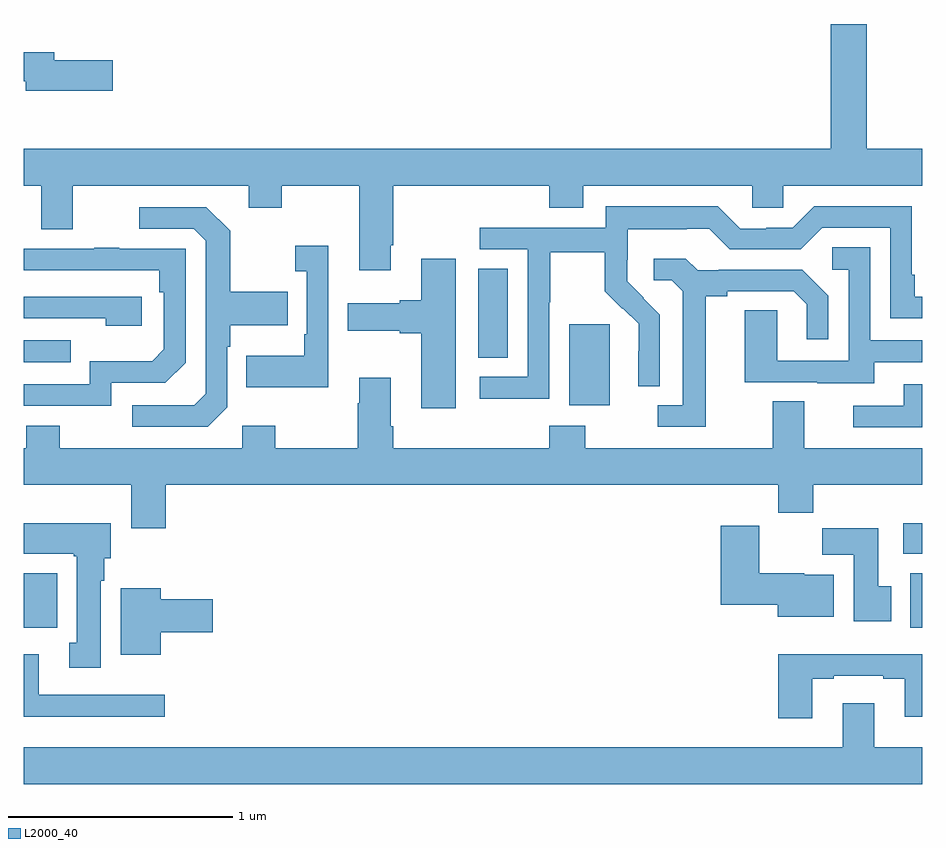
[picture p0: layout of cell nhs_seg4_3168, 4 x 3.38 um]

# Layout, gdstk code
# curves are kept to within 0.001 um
import gdstk
lib = gdstk.Library(unit=1e-6, precision=1e-09)
def R(c, l, rs):  # rectangles x0, y0, x1, y1
    for r in rs: c.add(gdstk.rectangle(r[:2], r[2:], *l))
def P(c, l, *ps):  # polygons
    for p in ps: c.add(gdstk.Polygon(p, *l))
L2000_40 = (2000, 40)

nhs_seg4_3168 = lib.new_cell('nhs_seg4_3168')
R(nhs_seg4_3168, L2000_40, [(279,768.212,279.148,768.454), (282.947,768.212,283,768.454), (282.915,768.542,283,768.676), (281.429,769.202,281.608,769.563), (279,769.395,279.209,769.491), (281.024,769.414,281.155,769.811)])
P(nhs_seg4_3168, L2000_40, [(279.397,770.738),(279.136,770.738),(279.136,770.774),(279,770.774),(279,770.646),(279.008,770.646),(279.008,770.603),(279.397,770.603)],
  [(282.593,770.9),(282.593,770.344),(279,770.344),(279,770.18),(279.077,770.18),(279.077,769.986),(279.217,769.986),(279.217,770.18),(280.001,770.18),(280.001,770.081),(280.149,770.081),(280.149,770.18),(280.493,770.18),(280.493,769.803),(280.633,769.803),(280.633,769.915),(280.646,769.915),(280.646,770.18),(281.339,770.18),(281.339,770.081),(281.491,770.081),(281.491,770.18),(282.243,770.18),(282.243,770.082),(282.381,770.082),(282.381,770.18),(283,770.18),(283,770.344),(282.753,770.344),(282.753,770.9)],
  [(281.34,769.66),(281.343,769.66),(281.343,769.884),(281.587,769.884),(281.587,769.709),(281.664,769.632),(281.667,769.635),(281.738,769.565),(281.738,769.442),(281.736,769.442),(281.736,769.288),(281.832,769.288),(281.832,769.606),(281.686,769.754),(281.686,769.851),(281.688,769.851),(281.688,769.985),(281.951,769.985),(281.951,769.989),(282.051,769.989),(282.144,769.896),(282.459,769.896),(282.555,769.992),(282.858,769.992),(282.858,769.59),(283,769.59),(283,769.686),(282.967,769.686),(282.967,769.783),(282.954,769.783),(282.954,770.088),(282.519,770.088),(282.423,769.992),(282.305,769.992),(282.305,769.989),(282.189,769.989),(282.089,770.089),(281.592,770.089),(281.592,769.992),(281.031,769.992),(281.031,769.896),(281.244,769.896),(281.244,769.329),(281.031,769.329),(281.031,769.231),(281.34,769.231)],
  [(279.906,769.194),(279.906,769.463),(279.919,769.463),(279.919,769.559),(280.175,769.559),(280.175,769.707),(279.919,769.707),(279.919,769.979),(279.813,770.085),(279.513,770.085),(279.513,769.989),(279.756,769.989),(279.81,769.935),(279.81,769.254),(279.759,769.203),(279.483,769.203),(279.483,769.107),(279.819,769.107)],
  [(280.356,769.912),(280.209,769.912),(280.209,769.799),(280.26,769.799),(280.26,769.519),(280.248,769.519),(280.248,769.423),(279.991,769.423),(279.991,769.283),(280.356,769.283)],
  [(282.787,769.395),(283,769.395),(283,769.491),(282.768,769.491),(282.768,769.907),(282.6,769.907),(282.6,769.806),(282.672,769.806),(282.672,769.401),(282.354,769.401),(282.354,769.625),(282.209,769.625),(282.209,769.305),(282.533,769.305),(282.533,769.301),(282.787,769.301)],
  [(279.39,769.302),(279.63,769.302),(279.72,769.392),(279.72,769.899),(279.425,769.899),(279.425,769.904),(279.313,769.904),(279.313,769.899),(279,769.899),(279,769.803),(279.604,769.803),(279.604,769.706),(279.624,769.706),(279.624,769.452),(279.571,769.399),(279.294,769.399),(279.294,769.296),(279,769.296),(279,769.2),(279.39,769.2)],
  [(282.037,769.688),(282.133,769.688),(282.133,769.71),(282.428,769.71),(282.485,769.653),(282.485,769.497),(282.582,769.497),(282.582,769.69),(282.466,769.806),(282.094,769.806),(282.094,769.803),(282,769.803),(281.948,769.855),(281.805,769.855),(281.805,769.758),(281.886,769.758),(281.933,769.711),(281.933,769.203),(281.823,769.203),(281.823,769.107),(282.037,769.107)],
  [(280.924,769.855),(280.769,769.855),(280.769,769.67),(280.673,769.67),(280.673,769.657),(280.443,769.657),(280.443,769.535),(280.673,769.535),(280.673,769.523),(280.769,769.523),(280.769,769.188),(280.924,769.188)],
  [(279.526,769.686),(279,769.686),(279,769.59),(279.365,769.59),(279.365,769.556),(279.526,769.556)],
  [(279.632,768.848),(282.359,768.848),(282.359,768.724),(282.515,768.724),(282.515,768.848),(283,768.848),(283,769.012),(282.475,769.012),(282.475,769.22),(282.335,769.22),(282.335,769.012),(281.499,769.012),(281.499,769.111),(281.339,769.111),(281.339,769.012),(280.646,769.012),(280.646,769.108),(280.633,769.108),(280.633,769.324),(280.493,769.324),(280.493,769.211),(280.486,769.211),(280.486,769.012),(280.119,769.012),(280.119,769.111),(279.972,769.111),(279.972,769.012),(279.159,769.012),(279.159,769.111),(279.011,769.111),(279.011,769.012),(279,769.012),(279,768.848),(279.479,768.848),(279.479,768.654),(279.632,768.654)],
  [(283,769.296),(282.917,769.296),(282.917,769.2),(282.693,769.2),(282.693,769.104),(283,769.104)],
  [(279.343,768.422),(279.358,768.422),(279.358,768.522),(279.388,768.522),(279.388,768.676),(279,768.676),(279,768.542),(279.223,768.542),(279.223,768.529),(279.236,768.529),(279.236,768.146),(279.203,768.146),(279.203,768.033),(279.343,768.033)],
  [(282.607,768.448),(282.474,768.448),(282.474,768.454),(282.274,768.454),(282.274,768.667),(282.104,768.667),(282.104,768.314),(282.356,768.314),(282.356,768.26),(282.607,768.26)],
  [(282.862,768.396),(282.805,768.396),(282.805,768.655),(282.556,768.655),(282.556,768.536),(282.695,768.536),(282.695,768.24),(282.862,768.24)],
  [(279.61,768.191),(279.841,768.191),(279.841,768.338),(279.61,768.338),(279.61,768.388),(279.431,768.388),(279.431,768.092),(279.61,768.092)],
  [(279.628,767.913),(279.067,767.913),(279.067,768.094),(279,768.094),(279,767.816),(279.628,767.816)],
  [(282.511,767.985),(282.607,767.985),(282.607,767.997),(282.827,767.997),(282.827,767.985),(282.923,767.985),(282.923,767.816),(283,767.816),(283,768.094),(282.359,768.094),(282.359,767.808),(282.511,767.808)],
  [(283,767.68),(282.787,767.68),(282.787,767.875),(282.647,767.875),(282.647,767.68),(279,767.68),(279,767.516),(283,767.516)])

lib.write_gds('nhs_seg4_3168.gds')
